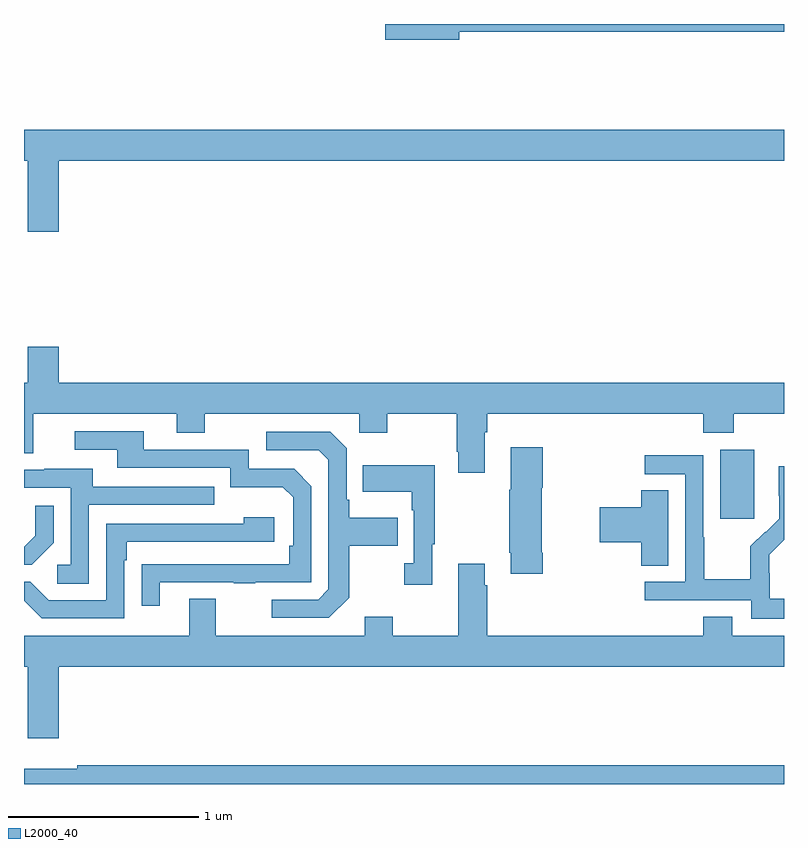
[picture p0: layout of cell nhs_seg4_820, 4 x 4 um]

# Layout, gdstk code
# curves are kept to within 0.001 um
import gdstk
lib = gdstk.Library(unit=1e-6, precision=1e-09)
def R(c, l, rs):  # rectangles x0, y0, x1, y1
    for r in rs: c.add(gdstk.rectangle(r[:2], r[2:], *l))
def P(c, l, *ps):  # polygons
    for p in ps: c.add(gdstk.Polygon(p, *l))
L2000_40 = (2000, 40)

nhs_seg4_820 = lib.new_cell('nhs_seg4_820')
R(nhs_seg4_820, L2000_40, [(156.665,768.297,156.844,768.658)])
P(nhs_seg4_820, L2000_40, [(155.29,770.86),(157,770.86),(157,770.9),(154.902,770.9),(154.902,770.818),(155.29,770.818)],
  [(153.184,770.18),(157,770.18),(157,770.344),(153,770.344),(153,770.18),(153.02,770.18),(153.02,769.806),(153.184,769.806)],
  [(155.425,768.752),(155.438,768.752),(155.438,768.848),(156.575,768.848),(156.575,768.749),(156.735,768.749),(156.735,768.848),(157,768.848),(157,769.012),(153.184,769.012),(153.184,769.201),(153.02,769.201),(153.02,769.012),(153,769.012),(153,768.64),(153.049,768.64),(153.049,768.848),(153.803,768.848),(153.803,768.749),(153.951,768.749),(153.951,768.848),(154.764,768.848),(154.764,768.749),(154.911,768.749),(154.911,768.848),(155.278,768.848),(155.278,768.649),(155.285,768.649),(155.285,768.537),(155.425,768.537)],
  [(153.715,767.961),(154.105,767.961),(154.105,767.956),(154.217,767.956),(154.217,767.961),(154.512,767.961),(154.512,768.468),(154.422,768.558),(154.182,768.558),(154.182,768.66),(153.631,768.66),(153.631,768.756),(153.267,768.756),(153.267,768.66),(153.491,768.66),(153.491,768.564),(154.086,768.564),(154.086,768.461),(154.363,768.461),(154.416,768.408),(154.416,768.154),(154.396,768.154),(154.396,768.057),(153.619,768.056),(153.619,767.838),(153.715,767.838)],
  [(154.711,767.881),(154.711,768.154),(154.967,768.154),(154.967,768.301),(154.711,768.301),(154.711,768.397),(154.698,768.397),(154.698,768.666),(154.611,768.753),(154.275,768.753),(154.275,768.657),(154.551,768.657),(154.602,768.606),(154.602,767.925),(154.548,767.871),(154.305,767.871),(154.305,767.775),(154.605,767.775)],
  [(155.729,768.118),(155.724,768.118),(155.724,768.46),(155.729,768.46),(155.729,768.673),(155.561,768.673),(155.561,768.449),(155.554,768.449),(155.554,768.118),(155.561,768.118),(155.561,768.006),(155.729,768.006)],
  [(157,767.875),(156.924,767.875),(156.924,768.009),(156.922,768.009),(156.922,768.106),(156.996,768.18),(156.995,768.181),(157,768.186),(157,768.572),(156.972,768.572),(156.972,768.418),(156.974,768.418),(156.974,768.296),(156.903,768.225),(156.9,768.228),(156.823,768.151),(156.823,767.977),(156.579,767.977),(156.579,768.2),(156.576,768.2),(156.576,768.63),(156.267,768.63),(156.267,768.531),(156.48,768.531),(156.48,767.964),(156.267,767.964),(156.267,767.868),(156.828,767.868),(156.828,767.771),(157,767.771)],
  [(155.149,768.161),(155.161,768.161),(155.161,768.577),(154.783,768.577),(154.783,768.437),(155.04,768.437),(155.04,768.341),(155.052,768.341),(155.052,768.062),(155.001,768.062),(155.001,767.949),(155.149,767.949)],
  [(153.342,768.369),(154.001,768.369),(154.001,768.465),(153.361,768.465),(153.361,768.559),(153.107,768.559),(153.107,768.555),(153,768.555),(153,768.459),(153.246,768.459),(153.246,768.054),(153.174,768.054),(153.174,767.953),(153.342,767.953)],
  [(156.391,768.446),(156.248,768.446),(156.248,768.356),(156.03,768.356),(156.03,768.173),(156.248,768.173),(156.248,768.049),(156.391,768.049)],
  [(153.156,768.17),(153.156,768.364),(153.059,768.364),(153.059,768.207),(153.002,768.15),(153,768.15),(153,768.054),(153.04,768.054)],
  [(153.528,768.077),(153.541,768.077),(153.541,768.174),(154.318,768.174),(154.318,768.304),(154.157,768.304),(154.157,768.27),(153.432,768.27),(153.432,767.868),(153.129,767.868),(153.033,767.964),(153,767.964),(153,767.865),(153.093,767.772),(153.528,767.772)],
  [(153.184,767.516),(157,767.516),(157,767.68),(156.727,767.68),(156.727,767.779),(156.575,767.779),(156.575,767.68),(155.438,767.68),(155.438,767.945),(155.425,767.945),(155.425,768.058),(155.285,768.058),(155.285,767.68),(154.941,767.68),(154.941,767.779),(154.793,767.779),(154.793,767.68),(154.009,767.68),(154.009,767.875),(153.869,767.875),(153.869,767.68),(153,767.68),(153,767.516),(153.02,767.516),(153.02,767.142),(153.184,767.142)],
  [(157,767),(153.28,767),(153.28,766.981),(153,766.981),(153,766.9),(157,766.9)])

lib.write_gds('nhs_seg4_820.gds')
